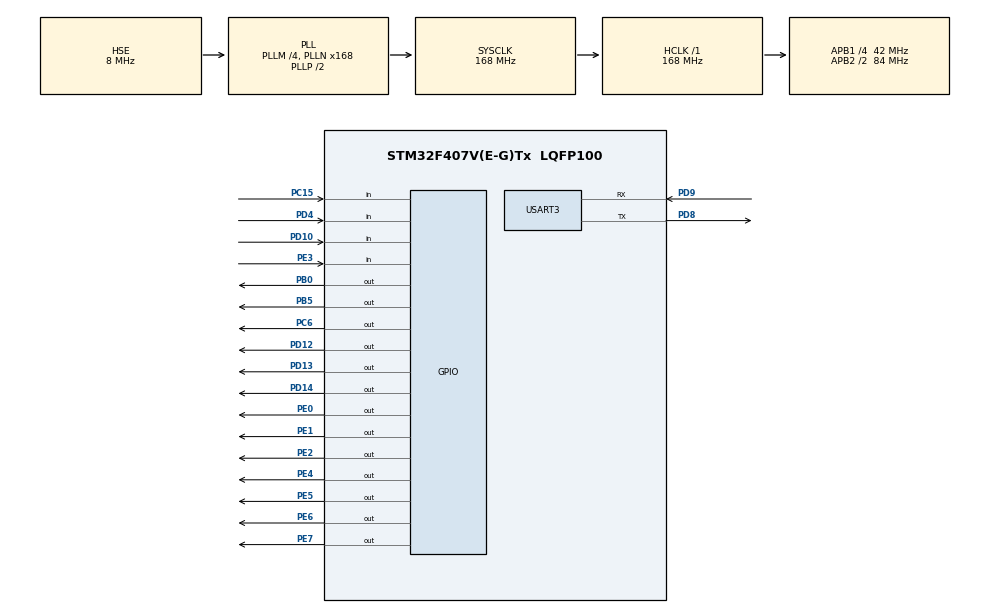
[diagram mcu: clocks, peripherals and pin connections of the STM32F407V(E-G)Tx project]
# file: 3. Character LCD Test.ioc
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Mcu.Family=STM32F4
Mcu.Name=STM32F407V(E-G)Tx
Mcu.Package=LQFP100
NVIC.PriorityGroup=NVIC_PRIORITYGROUP_4
NVIC.USART3_IRQn=true\:0\:0\:false\:true\:true\:1\:true
PB0.Signal=GPIO_Output
PB5.Signal=GPIO_Output
PC15-OSC32_OUT.Signal=GPIO_Input
PC6.Signal=GPIO_Output
PD10.Signal=GPIO_Input
PD12.Signal=GPIO_Output
PD13.Signal=GPIO_Output
PD14.Signal=GPIO_Output
PD4.Signal=GPIO_Input
PD8.Mode=Asynchronous
PD8.Signal=USART3_TX
PD9.Mode=Asynchronous
PD9.Signal=USART3_RX
PE0.Signal=GPIO_Output
PE1.Signal=GPIO_Output
PE2.Signal=GPIO_Output
PE3.Signal=GPIO_Input
PE4.Signal=GPIO_Output
PE5.Signal=GPIO_Output
PE6.Signal=GPIO_Output
PE7.Signal=GPIO_Output
PH0-OSC_IN.Mode=HSE-External-Oscillator
PH0-OSC_IN.Signal=RCC_OSC_IN
PH1-OSC_OUT.Mode=HSE-External-Oscillator
PH1-OSC_OUT.Signal=RCC_OSC_OUT
ProjectManager.HeapSize=0x200
ProjectManager.StackSize=0x400
ProjectManager.TargetToolchain=TrueSTUDIO
RCC.48MHZClocksFreq_Value=84000000
RCC.AHBFreq_Value=168000000
RCC.APB1CLKDivider=RCC_HCLK_DIV4
RCC.APB1Freq_Value=42000000
RCC.APB1TimFreq_Value=84000000
RCC.APB2CLKDivider=RCC_HCLK_DIV2
RCC.APB2Freq_Value=84000000
RCC.APB2TimFreq_Value=168000000
RCC.CortexFreq_Value=168000000
RCC.HCLKFreq_Value=168000000
RCC.HSE_VALUE=8000000
RCC.HSI_VALUE=16000000
RCC.LSE_VALUE=32768
RCC.PLLM=4
RCC.PLLN=168
RCC.PLLSourceVirtual=RCC_PLLSOURCE_HSE
RCC.SYSCLKFreq_VALUE=168000000
RCC.SYSCLKSource=RCC_SYSCLKSOURCE_PLLCLK
RCC.VCOOutputFreq_Value=336000000
USART3.VirtualMode=VM_ASYNC
board=custom

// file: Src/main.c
/**
  ******************************************************************************
  * @file           : main.c
  * @brief          : Main program body
  ******************************************************************************
  ** This notice applies to any and all portions of this file
  * that are not between comment pairs USER CODE BEGIN and
  * USER CODE END. Other portions of this file, whether
  * inserted by the user or by software development tools
  * are owned by their respective copyright owners.
  *
  * COPYRIGHT(c) 2018 STMicroelectronics
  *
  * Redistribution and use in source and binary forms, with or without modification,
  * are permitted provided that the following conditions are met:
  *   1. Redistributions of source code must retain the above copyright notice,
  *      this list of conditions and the following disclaimer.
  *   2. Redistributions in binary form must reproduce the above copyright notice,
  *      this list of conditions and the following disclaimer in the documentation
  *      and/or other materials provided with the distribution.
  *   3. Neither the name of STMicroelectronics nor the names of its contributors
  *      may be used to endorse or promote products derived from this software
  *      without specific prior written permission.
  *
  * THIS SOFTWARE IS PROVIDED BY THE COPYRIGHT HOLDERS AND CONTRIBUTORS "AS IS"
  * AND ANY EXPRESS OR IMPLIED WARRANTIES, INCLUDING, BUT NOT LIMITED TO, THE
  * IMPLIED WARRANTIES OF MERCHANTABILITY AND FITNESS FOR A PARTICULAR PURPOSE ARE
  * DISCLAIMED. IN NO EVENT SHALL THE COPYRIGHT HOLDER OR CONTRIBUTORS BE LIABLE
  * FOR ANY DIRECT, INDIRECT, INCIDENTAL, SPECIAL, EXEMPLARY, OR CONSEQUENTIAL
  * DAMAGES (INCLUDING, BUT NOT LIMITED TO, PROCUREMENT OF SUBSTITUTE GOODS OR
  * SERVICES; LOSS OF USE, DATA, OR PROFITS; OR BUSINESS INTERRUPTION) HOWEVER
  * CAUSED AND ON ANY THEORY OF LIABILITY, WHETHER IN CONTRACT, STRICT LIABILITY,
  * OR TORT (INCLUDING NEGLIGENCE OR OTHERWISE) ARISING IN ANY WAY OUT OF THE USE
  * OF THIS SOFTWARE, EVEN IF ADVISED OF THE POSSIBILITY OF SUCH DAMAGE.
  *
  ******************************************************************************
  */
#include "main.h"
#include "stm32f4xx_hal.h"
#include "usart.h"
#include "gpio.h"
#include "CLCD.h"

/* USER CODE BEGIN Includes */
#include <stdio.h>
/* USER CODE END Includes */

/* USER CODE BEGIN PV */
/* Private variables ---------------------------------------------------------*/
uint8_t rx3_data;
/* USER CODE END PV */

void SystemClock_Config(void);
static void MX_NVIC_Init(void);

/* USER CODE BEGIN PFP */
/* Private function prototypes -----------------------------------------------*/
int _write(int file, char* p, int len)
{
	HAL_UART_Transmit(&huart3, p, len, 10);
	return len;
}
/* USER CODE END PFP */

int main(void)
{

  /* MCU Configuration----------------------------------------------------------*/

  /* Reset of all peripherals, Initializes the Flash interface and the Systick. */
  HAL_Init();

  /* Configure the system clock */
  SystemClock_Config();

  /* Initialize all configured peripherals */
  MX_GPIO_Init();
  MX_USART3_UART_Init();

  /* Initialize interrupts */
  MX_NVIC_Init();
  /* USER CODE BEGIN 2 */
	HAL_GPIO_WritePin(GPIOC, GPIO_PIN_6, GPIO_PIN_SET);
	HAL_GPIO_WritePin(GPIOB, GPIO_PIN_0, GPIO_PIN_SET);
	HAL_GPIO_WritePin(GPIOB, GPIO_PIN_5, GPIO_PIN_SET);

	HAL_GPIO_WritePin(GPIOD, GPIO_PIN_12, GPIO_PIN_SET);
	HAL_GPIO_WritePin(GPIOD, GPIO_PIN_13, GPIO_PIN_SET);
	HAL_GPIO_WritePin(GPIOD, GPIO_PIN_14, GPIO_PIN_SET);

	HAL_UART_Receive_IT(&huart3, &rx3_data, 1);

	CLCD_GPIO_Init();
	CLCD_Init();
	CLCD_Puts(0, 0, "Welcome to");
	CLCD_Puts(0, 1, "M-HIVE");
	CLCD_Clear();
  /* USER CODE END 2 */

  /* Infinite loop */
  /* USER CODE BEGIN WHILE */
	uint8_t a = 0;
	float f = 1.234;
	uint8_t str[20];
  while (1)
  {
	  sprintf(str, "%f", f);
	  CLCD_Puts(0, 0, str);
	  HAL_Delay(1000);
  /* USER CODE END WHILE */

  }

}

void SystemClock_Config(void)
{

  RCC_OscInitTypeDef RCC_OscInitStruct;
  RCC_ClkInitTypeDef RCC_ClkInitStruct;

    /**Configure the main internal regulator output voltage
    */
  __HAL_RCC_PWR_CLK_ENABLE();

  __HAL_PWR_VOLTAGESCALING_CONFIG(PWR_REGULATOR_VOLTAGE_SCALE1);

    /**Initializes the CPU, AHB and APB busses clocks
    */
  RCC_OscInitStruct.OscillatorType = RCC_OSCILLATORTYPE_HSE;
  RCC_OscInitStruct.HSEState = RCC_HSE_ON;
  RCC_OscInitStruct.PLL.PLLState = RCC_PLL_ON;
  RCC_OscInitStruct.PLL.PLLSource = RCC_PLLSOURCE_HSE;
  RCC_OscInitStruct.PLL.PLLM = 4;
  RCC_OscInitStruct.PLL.PLLN = 168;
  RCC_OscInitStruct.PLL.PLLP = RCC_PLLP_DIV2;
  RCC_OscInitStruct.PLL.PLLQ = 4;
  if (HAL_RCC_OscConfig(&RCC_OscInitStruct) != HAL_OK)
  {
    _Error_Handler(__FILE__, __LINE__);
  }

    /**Initializes the CPU, AHB and APB busses clocks
    */
  RCC_ClkInitStruct.ClockType = RCC_CLOCKTYPE_HCLK|RCC_CLOCKTYPE_SYSCLK
                              |RCC_CLOCKTYPE_PCLK1|RCC_CLOCKTYPE_PCLK2;
  RCC_ClkInitStruct.SYSCLKSource = RCC_SYSCLKSOURCE_PLLCLK;
  RCC_ClkInitStruct.AHBCLKDivider = RCC_SYSCLK_DIV1;
  RCC_ClkInitStruct.APB1CLKDivider = RCC_HCLK_DIV4;
  RCC_ClkInitStruct.APB2CLKDivider = RCC_HCLK_DIV2;

  if (HAL_RCC_ClockConfig(&RCC_ClkInitStruct, FLASH_LATENCY_5) != HAL_OK)
  {
    _Error_Handler(__FILE__, __LINE__);
  }

    /**Configure the Systick interrupt time
    */
  HAL_SYSTICK_Config(HAL_RCC_GetHCLKFreq()/1000);

    /**Configure the Systick
    */
  HAL_SYSTICK_CLKSourceConfig(SYSTICK_CLKSOURCE_HCLK);

  /* SysTick_IRQn interrupt configuration */
  HAL_NVIC_SetPriority(SysTick_IRQn, 0, 0);
}

/**
  * @brief NVIC Configuration.
  * @retval None
  */
static void MX_NVIC_Init(void)
{
  /* USART3_IRQn interrupt configuration */
  HAL_NVIC_SetPriority(USART3_IRQn, 0, 0);
  HAL_NVIC_EnableIRQ(USART3_IRQn);
}

/* USER CODE BEGIN 4 */
void HAL_UART_RxCpltCallback(UART_HandleTypeDef *huart)
{
	if(huart->Instance == USART3)
	{
		HAL_UART_Receive_IT(&huart3, &rx3_data, 1);
		HAL_UART_Transmit(&huart3, &rx3_data, 1, 10);
	}
}
/* USER CODE END 4 */

void _Error_Handler(char *file, int line)
{
  while(1)
  {
  }
}

/************************ (C) COPYRIGHT STMicroelectronics *****END OF FILE****/
